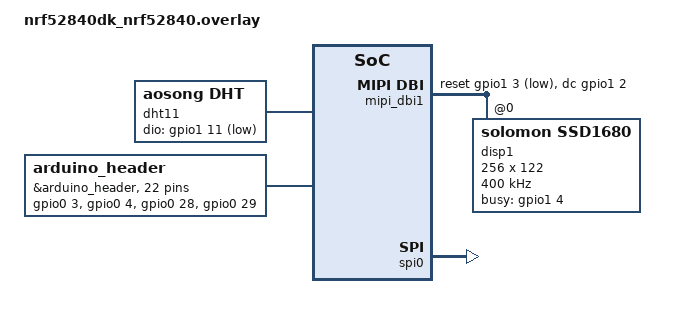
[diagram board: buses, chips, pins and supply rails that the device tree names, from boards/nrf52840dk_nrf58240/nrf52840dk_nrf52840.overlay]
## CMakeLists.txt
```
cmake_minimum_required(VERSION 3.20.0)
find_package(Zephyr REQUIRED HINTS $ENV{ZEPHYR_BASE})

project(LvglTemperature)

target_sources(app PRIVATE src/main.c)
```

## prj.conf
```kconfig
CONFIG_LV_Z_SHELL=y
CONFIG_MAIN_STACK_SIZE=4096
CONFIG_DISPLAY=y
CONFIG_DISPLAY_LOG_LEVEL_ERR=y
CONFIG_DISPLAY_INIT_PRIORITY=80
CONFIG_LOG=y
CONFIG_SHELL=y
CONFIG_LVGL=y
CONFIG_LV_USE_LOG=y
CONFIG_LV_USE_LABEL=y
CONFIG_LV_FONT_MONTSERRAT_14=y
CONFIG_LV_COLOR_DEPTH_1=y
CONFIG_LV_DRAW_BUF_STRIDE_ALIGN=8
CONFIG_LV_Z_MEM_POOL_SIZE=65536

CONFIG_DEBUG=y
CONFIG_PRINTK=y
CONFIG_THREAD_NAME=y
CONFIG_LOG=y
CONFIG_DEBUG_INFO=y
CONFIG_ASSERT=y
CONFIG_LV_FONT_MONTSERRAT_24=y
CONFIG_SENSOR=y
CONFIG_DHT=y
CONFIG_GPIO=y
CONFIG_DHT_LOCK_IRQS=y
CONFIG_SERIAL=y
CONFIG_UART_CONSOLE=y
CONFIG_CONSOLE=y
CONFIG_GPIO_NRFX=y

CONFIG_SPI=y
CONFIG_SPI_NRFX=y
```

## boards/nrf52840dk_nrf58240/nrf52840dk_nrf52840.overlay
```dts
/ {
 dht11 {
 compatible = "aosong,dht";
 dio-gpios = <&gpio1 11 (GPIO_PULL_UP | GPIO_ACTIVE_LOW)>;
 status="okay";
 };

};


/{
   chosen {
       zephyr,display = &disp1;
   };


   mipi_dbi1 {
       compatible = "zephyr,mipi-dbi-spi";
       dc-gpios = <&gpio1 2 GPIO_ACTIVE_HIGH>;
       reset-gpios = <&gpio1 3 GPIO_ACTIVE_LOW>;
       spi-dev = <&spi0>;
       write-only;
       #address-cells = <1>;
       #size-cells = <0>;
       status = "okay";


       disp1: ssd1680@0 {
           compatible = "solomon,ssd1680";
           reg = <0>;
           busy-gpios = <&gpio1 4 (GPIO_PULL_DOWN | GPIO_ACTIVE_HIGH)>;
           width = <256>;
           height = <122>;
           rotation = <0>;
           mipi-max-frequency = <400000>;  
          


         //   full {
         //       // lut = [ 22 55 AA 55 AA 55 AA 11 00 00 00 00 00 00 00 00 1E 1E 1E 1E 1E 1E 1E 1E 01 00 00 00 00 00 ];
         //   };
         
           partial{
           //     lut = [ 18 00 00 00 00 00 00 00 00 00 00 00 00 00 00 00 0f 01 00 00 00 00 00 00 00 00 00 00 00 00 ];
            };


           status = "okay";
       };
   };
};




&spi0 {
   status = "okay";
   cs-gpios = <&gpio1 1 GPIO_ACTIVE_LOW>;
};


&gpio1 {
   status = "okay";
};


&arduino_i2c {
   status = "disabled";
};


&arduino_header {
   gpio-map = <0 0 &gpio0 3 0>,
              <1 0 &gpio0 4 0>,
              <2 0 &gpio0 28 0>,
              <3 0 &gpio0 29 0>,
              <4 0 &gpio0 30 0>,
              <5 0 &gpio0 31 0>,
              <6 0 &gpio1 1 0>,
              <7 0 &gpio1 2 0>,
              <8 0 &gpio1 3 0>,
              <9 0 &gpio1 4 0>,
              <10 0 &gpio1 5 0>,
              <11 0 &gpio1 6 0>,
              <12 0 &gpio1 7 0>,
              <13 0 &gpio1 8 0>,
              <14 0 &gpio1 10 0>,
              <15 0 &gpio1 11 0>,
              <16 0 &gpio1 12 0>,
              <17 0 &gpio1 13 0>,
              <18 0 &gpio1 14 0>,
              <19 0 &gpio1 15 0>,
              <20 0 &gpio0 26 0>,
              <21 0 &gpio0 27 0>;
};
```

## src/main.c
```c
#include <zephyr/device.h>
#include <zephyr/devicetree.h>
#include <zephyr/drivers/display.h>
#include <zephyr/drivers/sensor.h>
#include <zephyr/kernel.h>
#include <zephyr/logging/log.h>
#include <lvgl.h>
#include <stdio.h>
#include <string.h>
#include <math.h>

#define LOG_LEVEL CONFIG_LOG_DEFAULT_LEVEL
LOG_MODULE_REGISTER(app);

#define DHT_NODE DT_PATH(dht11)

#define DISPLAY_WIDTH  256
#define DISPLAY_HEIGHT 120

static lv_obj_t *label_temp, *label_humid, *label_heat_index;

int main(void)
{
    const struct device *display_dev = DEVICE_DT_GET(DT_CHOSEN(zephyr_display));
    const struct device *dht_dev = DEVICE_DT_GET(DHT_NODE);

    if (!device_is_ready(display_dev)) {
        LOG_ERR("Display not ready");
        return 1;
    }

    if (!device_is_ready(dht_dev)) {
        LOG_ERR("DHT11 sensor not ready");
        return 1;
    }

    lv_init();
    lv_obj_set_style_bg_color(lv_scr_act(), lv_color_white(), LV_PART_MAIN);
    lv_obj_set_style_bg_opa(lv_scr_act(), LV_OPA_COVER, 0);
    
    // Create temperature label
    label_temp = lv_label_create(lv_scr_act());
    lv_obj_align(label_temp, LV_ALIGN_TOP_LEFT, 10, 10);
    lv_obj_set_width(label_temp, 300);
    lv_obj_set_height(label_temp, 31);
    lv_obj_set_style_bg_opa(label_temp, LV_OPA_TRANSP, LV_PART_MAIN);

    // Create humidity label
    label_humid = lv_label_create(lv_scr_act());
    lv_obj_align(label_humid, LV_ALIGN_TOP_LEFT, 10, 40);
     lv_obj_set_width(label_humid, 300);
    lv_obj_set_height(label_humid, 31);
        lv_obj_set_style_bg_opa(label_humid, LV_OPA_TRANSP, LV_PART_MAIN);


    // Create heat index label
    label_heat_index = lv_label_create(lv_scr_act());
    lv_obj_align(label_heat_index, LV_ALIGN_TOP_LEFT, 10, 70);
         lv_obj_set_width(label_heat_index, 300);
    lv_obj_set_height(label_heat_index, 31);
            lv_obj_set_style_bg_opa(label_heat_index, LV_OPA_TRANSP, LV_PART_MAIN);


    lv_obj_set_style_text_font(label_temp, &lv_font_montserrat_24, LV_PART_MAIN);
        lv_obj_set_style_text_font(label_humid, &lv_font_montserrat_24, LV_PART_MAIN);
        lv_obj_set_style_text_font(label_heat_index, &lv_font_montserrat_24, LV_PART_MAIN);


    display_blanking_off(display_dev);
    k_msleep(500);

    int last_temp = INT32_MIN;
    int last_humid = INT32_MIN;
    char temp_str[64];
    char humid_str[64];
    char heat_str[64];

    while (1) {
    struct sensor_value temp, humidity;

    if (sensor_sample_fetch(dht_dev) == 0 &&
        sensor_channel_get(dht_dev, SENSOR_CHAN_AMBIENT_TEMP, &temp) == 0 &&
        sensor_channel_get(dht_dev, SENSOR_CHAN_HUMIDITY, &humidity) == 0) {

        if (temp.val1 != last_temp || humidity.val1 != last_humid) {
            last_temp = temp.val1;
            last_humid = humidity.val1;

            int temp_c_int = temp.val1 * 100 + temp.val2 / 10000;
            int rh_int     = humidity.val1 * 100 + humidity.val2 / 10000;

            float temp_f = temp_c_int * 9.0f / 500.0f + 32.0f; // 100x scale
            float rh_f = rh_int / 100.0f;

            float HI_f = -42.379f + 2.04901523f * temp_f + 10.14333127f * rh_f
                       - 0.22475541f * temp_f * rh_f - 0.00683783f * temp_f * temp_f
                       - 0.05481717f * rh_f * rh_f + 0.00122874f * temp_f * temp_f * rh_f
                       + 0.00085282f * temp_f * rh_f * rh_f
                       - 0.00000199f * temp_f * temp_f * rh_f * rh_f;

            int HI_c_int = (int)(((HI_f - 32.0f) * 5.0f / 9.0f) * 100.0f);

            snprintf(temp_str, sizeof(temp_str), "Temp: %d.%02d C", temp_c_int / 100, temp_c_int % 100);
            snprintf(humid_str, sizeof(humid_str), "Humidity: %d.%02d %%", rh_int / 100, rh_int % 100);
            snprintf(heat_str, sizeof(heat_str), "Heat Index: %d.%02d C",
                     (temp_c_int >= 2600 ? HI_c_int : temp_c_int) / 100,
                     (temp_c_int >= 2600 ? HI_c_int : temp_c_int) % 100);
                
            lv_label_set_text(label_temp, temp_str);
            lv_label_set_text(label_humid, humid_str);
            lv_label_set_text(label_heat_index, heat_str);

            lv_obj_invalidate(label_temp);
            lv_obj_invalidate(label_humid);
            lv_obj_invalidate(label_heat_index);

            lv_timer_handler();
            lv_refr_now(NULL); 
        } else {
            LOG_INF("Values unchanged, skipping redraw");
        }
    } else {
        LOG_ERR("Failed to read from DHT11");
    }

    k_sleep(K_SECONDS(1));
}


    return 0;
}
```
